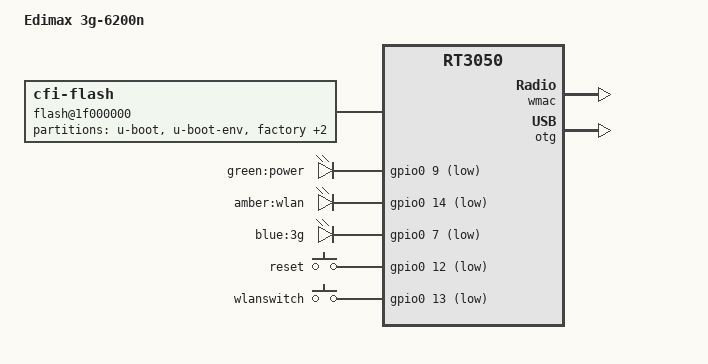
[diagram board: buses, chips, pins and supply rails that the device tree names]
#include "rt3050.dtsi"

#include <dt-bindings/gpio/gpio.h>
#include <dt-bindings/input/input.h>
#include <dt-bindings/mtd/partitions/uimage.h>

/ {
	compatible = "edimax,3g-6200n", "ralink,rt3050-soc";
	model = "Edimax 3g-6200n";

	aliases {
		led-boot = &led_power;
		led-failsafe = &led_power;
		led-running = &led_power;
		led-upgrade = &led_power;
	};

	flash@1f000000 {
		compatible = "cfi-flash";
		reg = <0x1f000000 0x800000>;
		bank-width = <2>;
		device-width = <2>;

		partitions {
			compatible = "fixed-partitions";
			#address-cells = <1>;
			#size-cells = <1>;

			partition@0 {
				label = "u-boot";
				reg = <0x0 0x30000>;
				read-only;
			};

			partition@30000 {
				label = "u-boot-env";
				reg = <0x30000 0x10000>;
				read-only;
			};

			factory: partition@40000 {
				label = "factory";
				reg = <0x40000 0x10000>;
				read-only;
			};

			partition@3e0000 {
				label = "cimage";
				reg = <0x3e0000 0x20000>;
				read-only;
			};

			partition@50000 {
				compatible = "openwrt,uimage", "denx,uimage";
				openwrt,offset = <FW_EDIMAX_OFFSET>;
				openwrt,partition-magic = <FW_MAGIC_EDIMAX>;
				label = "firmware";
				reg = <0x50000 0x390000>;
			};
		};
	};

	leds {
		compatible = "gpio-leds";

		led_power: power {
			label = "green:power";
			gpios = <&gpio0 9 GPIO_ACTIVE_LOW>;
		};

		wlan {
			label = "amber:wlan";
			gpios = <&gpio0 14 GPIO_ACTIVE_LOW>;
		};

		3g {
			label = "blue:3g";
			gpios = <&gpio0 7 GPIO_ACTIVE_LOW>;
			trigger-sources = <&otg_port1>;
			linux,default-trigger = "usbport";
		};
	};

	keys {
		compatible = "gpio-keys-polled";
		poll-interval = <20>;

		reset {
			label = "reset";
			gpios = <&gpio0 12 GPIO_ACTIVE_LOW>;
			linux,code = <KEY_RESTART>;
		};

		rfkill {
			label = "wlanswitch";
			gpios = <&gpio0 13 GPIO_ACTIVE_LOW>;
			linux,code = <KEY_RFKILL>;
		};
	};
};

&state_default {
	gpio {
		groups = "spi", "i2c", "jtag", "rgmii", "mdio", "uartf";
		function = "gpio";
	};
};

&ethernet {
	mtd-mac-address = <&factory 0x4>;
};

&esw {
	mediatek,portmap = <0x2f>;
};

&wmac {
	ralink,mtd-eeprom = <&factory 0x0>;
};

&otg {
	status = "okay";
};
